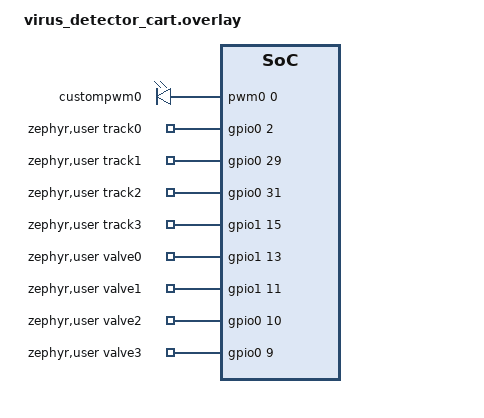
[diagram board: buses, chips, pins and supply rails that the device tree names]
&uart0 { status = "disabled"; };
&uart1 { status = "disabled"; };
&i2c0 { status = "disabled"; };
&i2c1 { status = "disabled"; };
&spi0 { status = "disabled"; };
&spi1 { status = "disabled"; };
&spi3 { status = "disabled"; };
&qspi { status = "disabled"; };
// &pwm0 { status = "disabled"; };
// &pwm1 { status = "disabled"; };
// &pwm2 { status = "disabled"; };
// &pwm3 { status = "disabled"; };
&adc { status = "disabled"; };
// &gpio0 { status = "disabled"; };
// &gpio1 { status = "disabled"; };
// &flash_controller { status = "disabled"; };
// &cryptocell { status = "disabled"; };
&rtc0 { status = "disabled"; };
&rtc1 { status = "disabled"; };
&timer0 { status = "disabled"; };
&timer1 { status = "disabled"; };
&timer2 { status = "disabled"; };
&timer3 { status = "disabled"; };
&timer4 { status = "disabled"; };

// /* Disable the LEDs and buttons */
&led0 { status = "disabled"; };
&led1 { status = "disabled"; };
&led2 { status = "disabled"; };
&led3 { status = "disabled"; };
&button0 { status = "disabled"; };
&button1 { status = "disabled"; };
&button2 { status = "disabled"; };
&button3 { status = "disabled"; };

&uicr {
    nfct-pins-as-gpios;
};

/{
    custompwms {
        compatible = "pwm-leds";
    
        custompwm0: custom_pwm_0 {
            pwms =  <&pwm0 0 PWM_MSEC(20) PWM_POLARITY_NORMAL>, 
                    <&pwm0 1 PWM_MSEC(20) PWM_POLARITY_NORMAL>,
                    <&pwm0 2 PWM_MSEC(20) PWM_POLARITY_NORMAL>,
                    <&pwm0 3 PWM_MSEC(20) PWM_POLARITY_NORMAL>
                   ;
        };
    };
    aliases {
        mycustompwm = &custompwm0;
    };
};

&pinctrl {
    pwm0_default: pwm0_default {
		group1 {
			psels = <NRF_PSEL(PWM_OUT0, 1, 04)>,
            <NRF_PSEL(PWM_OUT1, 1, 06)>,
            <NRF_PSEL(PWM_OUT2, 1, 00)>;
            // <NRF_PSEL(PWM_OUT3, 1, 11)>;
			nordic,invert;
		};
	};
	pwm0_sleep: pwm0_sleep {
		group1 {
			psels = <NRF_PSEL(PWM_OUT0, 1, 04)>,
            <NRF_PSEL(PWM_OUT1, 1, 06)>,
            <NRF_PSEL(PWM_OUT2, 1, 00)>;
            // <NRF_PSEL(PWM_OUT3, 1, 11)>;
			low-power-enable;
		};
	};
};

/ {
	zephyr,user {
		track0-gpios = <&gpio0 2 0>;
		track1-gpios = <&gpio0 29 0>;
		track2-gpios = <&gpio0 31 0>;
		track3-gpios = <&gpio1 15 0>;
        valve0-gpios = <&gpio1 13 0>;
        valve1-gpios = <&gpio1 11 0>;
        valve2-gpios = <&gpio0 10 0>;
        valve3-gpios = <&gpio0 9 0>;
	};
};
